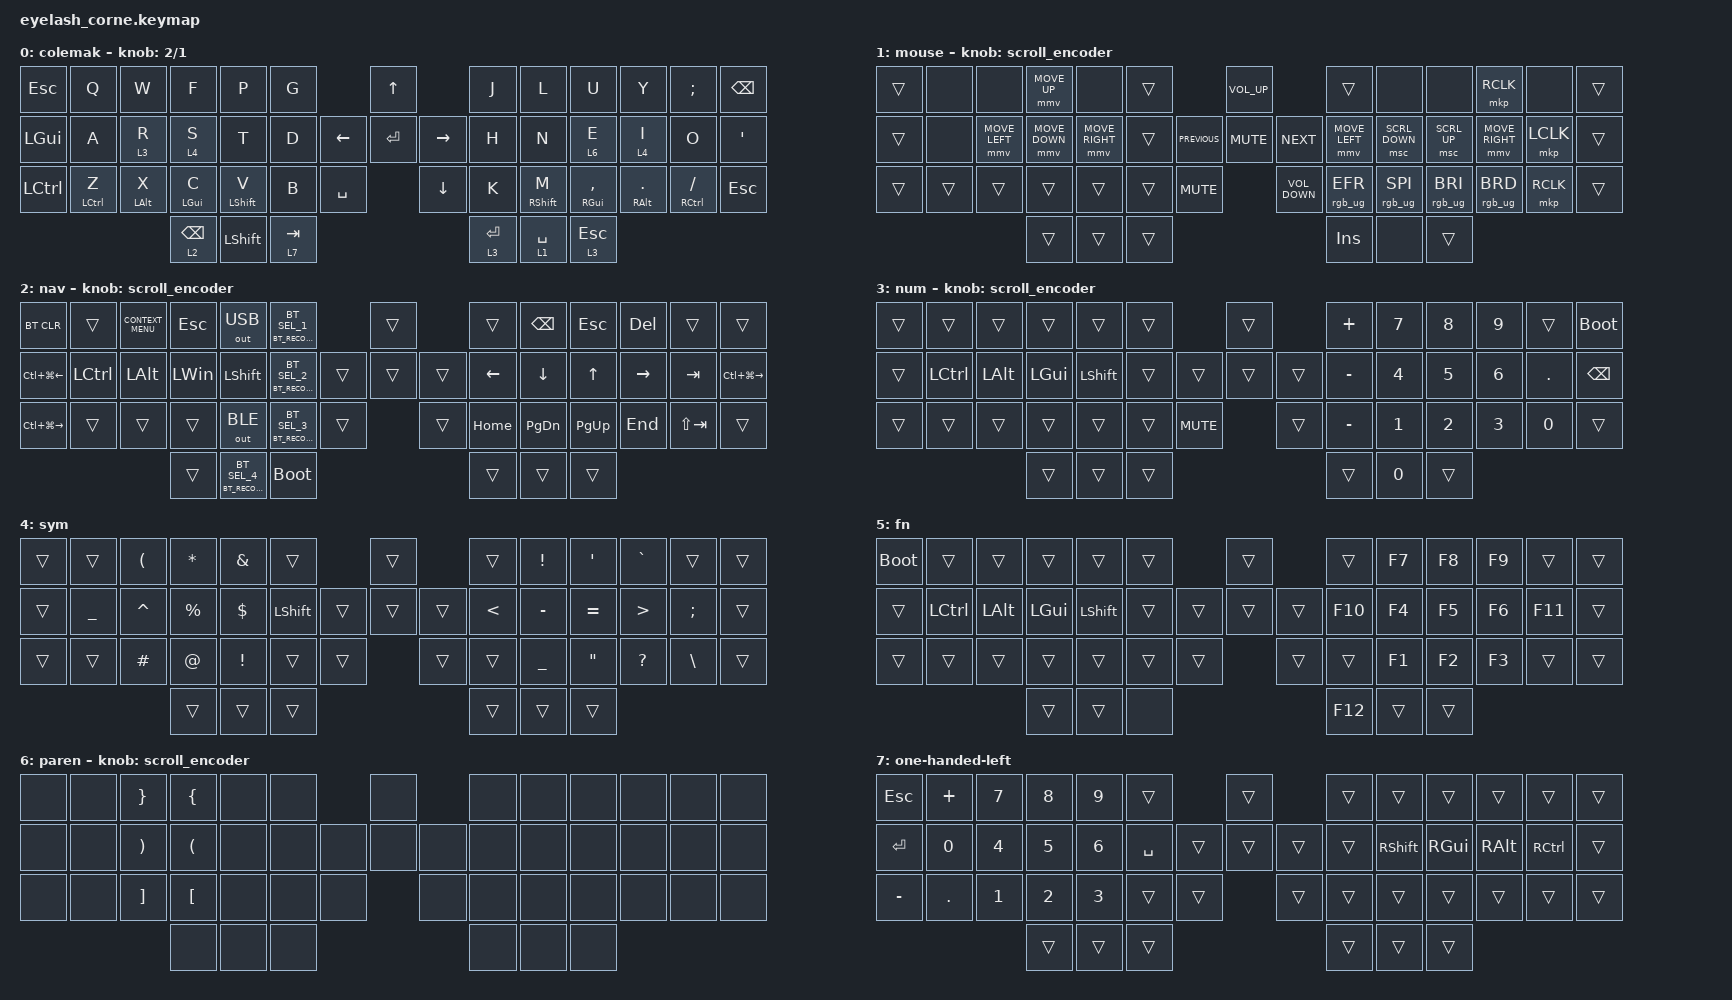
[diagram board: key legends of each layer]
#define ZMK_POINTING_DEFAULT_MOVE_VAL 800  // 600
#define ZMK_POINTING_DEFAULT_SCRL_VAL 40   // 10

#include <input/processors.dtsi>
#include <zephyr/dt-bindings/input/input-event-codes.h>
#include <behaviors.dtsi>
#include <dt-bindings/zmk/bt.h>
#include <dt-bindings/zmk/keys.h>
#include <dt-bindings/zmk/outputs.h>
#include <dt-bindings/zmk/pointing.h>
#include <dt-bindings/zmk/rgb.h>

&mmv_input_listener { input-processors = <&zip_xy_scaler 2 1>; };

&msc_input_listener { input-processors = <&zip_scroll_scaler 2 1>; };

&msc {
    acceleration-exponent = <1>;      // 0
    time-to-max-speed-ms = <100>;       // 300
    delay-ms = <0>;                   // 0
};

&mmv {
    time-to-max-speed-ms = <600>;
    acceleration-exponent = <1>;
};

&mt {
    flavor = "tap-preferred";
    quick-tap-ms = <150>;
};

&caps_word { continue-list = <UNDERSCORE BACKSPACE DELETE MINUS>; };

&lt { quick-tap-ms = <150>; };

/ {
    behaviors {
        bt_1: bt_recon {
            compatible = "zmk,behavior-hold-tap";
            label = "bt_1";
            bindings = <&BT_RECON_1>, <&BT_SEL_1>;

            #binding-cells = <2>;
            tapping-term-ms = <200>;
            quick-tap-ms = <0>;
            flavor = "tap-preferred";
        };

        bt_2: bt_2 {
            compatible = "zmk,behavior-hold-tap";
            label = "BT_2";
            bindings = <&BT_RECON_2>, <&BT_SEL_2>;

            #binding-cells = <2>;
            tapping-term-ms = <200>;
            quick-tap-ms = <0>;
            flavor = "tap-preferred";
        };

        bt_3: bt_3 {
            compatible = "zmk,behavior-hold-tap";
            label = "BT_3";
            bindings = <&BT_RECON_3>, <&BT_SEL_3>;

            #binding-cells = <2>;
            tapping-term-ms = <200>;
            quick-tap-ms = <0>;
            flavor = "tap-preferred";
        };

        bt_4: bt_4 {
            compatible = "zmk,behavior-hold-tap";
            label = "BT_4";
            bindings = <&BT_RECON_4>, <&BT_SEL_4>;

            #binding-cells = <2>;
            tapping-term-ms = <200>;
            quick-tap-ms = <0>;
            flavor = "tap-preferred";
        };
    };

    rgb_encoder: rgb_encoder {
        compatible = "zmk,behavior-sensor-rotate";
        #sensor-binding-cells = <0>;
        bindings = <&rgb_ug RGB_BRI>, <&rgb_ug RGB_BRD>;
    };

    scroll_encoder: scroll_encoder {
        compatible = "zmk,behavior-sensor-rotate";
        #sensor-binding-cells = <0>;
        bindings = <&msc SCRL_DOWN>, <&msc SCRL_UP>;

        tap-ms = <100>;
    };

    combos {
        compatible = "zmk,combos";

        L2-3U {
            bindings = <&kp LEFT_PARENTHESIS>;
            key-positions = <17 3>;
            layers = <0>;
        };

        R2-3U {
            bindings = <&kp RIGHT_PARENTHESIS>;
            key-positions = <23 9>;
            layers = <0>;
        };

        L2-4 {
            bindings = <&kp LEFT_BRACE>;
            key-positions = <17 14>;
            layers = <0>;
        };

        R2-4 {
            bindings = <&kp RIGHT_BRACE>;
            key-positions = <23 26>;
            layers = <0>;
        };

        R2-L2 {
            bindings = <&kp SQT>;
            key-positions = <17 23>;
            layers = <0>;
        };

        R3-L3 {
            bindings = <&kp DOUBLE_QUOTES>;
            key-positions = <16 24>;
            layers = <0>;
        };

        L34 {
            bindings = <&kp Q>;
            key-positions = <14 15>;
            layers = <0>;
        };

        L4D {
            bindings = <&kp Q>;
            key-positions = <14 29>;
            layers = <0>;
        };

        L0LR {
            bindings = <&bootloader>;
            key-positions = <42 43 44>;
            layers = <0>;
        };

        R0LR {
            bindings = <&bootloader>;
            key-positions = <45 46 47>;
            layers = <0>;
        };
    };

    macros {
        BT_RECON_1: BT_RECON_1 {
            compatible = "zmk,behavior-macro";
            #binding-cells = <0>;
            bindings = <&bt BT_SEL 1 &bt BT_CLR>;
            label = "BT_RECON_1";
        };

        BT_RECON_2: BT_RECON_2 {
            compatible = "zmk,behavior-macro";
            #binding-cells = <0>;
            bindings = <&bt BT_SEL 2 &bt BT_CLR>;
            label = "BT_RECON_2";
        };

        BT_RECON_3: BT_RECON_3 {
            compatible = "zmk,behavior-macro";
            #binding-cells = <0>;
            bindings = <&bt BT_SEL 3 &bt BT_CLR>;
            label = "BT_RECON_3";
        };

        BT_RECON_4: BT_RECON_4 {
            compatible = "zmk,behavior-macro";
            #binding-cells = <0>;
            bindings = <&bt BT_SEL 4 &bt BT_CLR>;
            label = "BT_RECON_4";
        };

        BT_SEL_1: BT_SEL_1 {
            compatible = "zmk,behavior-macro";
            #binding-cells = <0>;
            bindings = <&bt BT_SEL 1>;
            label = "BT_SEL_1";
        };

        BT_SEL_2: BT_SEL_2 {
            compatible = "zmk,behavior-macro";
            #binding-cells = <0>;
            bindings = <&bt BT_SEL 2>;
            label = "BT_SEL_2";
        };

        BT_SEL_3: BT_SEL_3 {
            compatible = "zmk,behavior-macro";
            #binding-cells = <0>;
            bindings = <&bt BT_SEL 3>;
            label = "BT_SEL_3";
        };

        BT_SEL_4: BT_SEL_4 {
            compatible = "zmk,behavior-macro";
            #binding-cells = <0>;
            bindings = <&bt BT_SEL 4>;
            label = "BT_SEL_4";
        };
    };

    keymap {
        compatible = "zmk,keymap";

        default_layer {
            display-name = "colemak";
            bindings = <
&kp ESC       &kp Q               &kp W           &kp F            &kp P             &kp G                             &kp UP                &kp J        &kp L              &kp U                &kp Y              &kp SEMI                 &kp BSPC
&kp LEFT_GUI  &kp A               &lt 3 R         &lt 4 S          &kp T             &kp D                   &kp LEFT  &kp ENTER  &kp RIGHT  &kp H        &kp N              &lt 6 E              &lt 4 I            &kp O                    &kp SQT
&kp LCTRL     &mt LEFT_CONTROL Z  &mt LEFT_ALT X  &mt LEFT_GUI C   &mt LEFT_SHIFT V  &kp B      &kp SPACE              &kp DOWN              &kp K        &mt RIGHT_SHIFT M  &mt RIGHT_GUI COMMA  &mt RIGHT_ALT DOT  &mt RIGHT_CONTROL SLASH  &kp ESC
                                                  &lt 2 BACKSPACE  &kp LSHIFT        &lt 7 TAB                                               &lt 3 ENTER  &lt 1 SPACE        &lt 3 ESC
            >;

            // sensor-bindings = <&inc_dec_kp C_VOLUME_UP C_VOLUME_DOWN>;

            sensor-bindings = <&inc_dec_kp N2 N1>;
        };

        mouse {
            display-name = "mouse";
            bindings = <
&trans  &none   &none           &mmv MOVE_UP    &none            &trans                                &kp C_VOLUME_UP                &trans           &none            &none            &mkp RCLK        &none      &trans
&trans  &none   &mmv MOVE_LEFT  &mmv MOVE_DOWN  &mmv MOVE_RIGHT  &trans                &kp C_PREVIOUS  &kp K_MUTE         &kp C_NEXT  &mmv MOVE_LEFT   &msc SCRL_DOWN   &msc SCRL_UP     &mmv MOVE_RIGHT  &mkp LCLK  &trans
&trans  &trans  &trans          &trans          &trans           &trans  &kp C_MUTE                    &kp C_VOLUME_DOWN              &rgb_ug RGB_EFR  &rgb_ug RGB_SPI  &rgb_ug RGB_BRI  &rgb_ug RGB_BRD  &mkp RCLK  &trans
                                &trans          &trans           &trans                                                               &kp INS          &none            &trans
            >;

            sensor-bindings = <&scroll_encoder>;
        };

        nav {
            display-name = "nav";
            bindings = <
&bt BT_CLR         &trans            &kp K_CONTEXT_MENU  &kp ESCAPE    &out OUT_USB    &bt_1 0 0                      &trans          &trans    &kp BSPC   &kp ESC    &kp DEL    &trans       &trans
&kp LC(LG(LEFT))   &kp LEFT_CONTROL  &kp LEFT_ALT        &kp LEFT_WIN  &kp LEFT_SHIFT  &bt_2 0 0              &trans  &trans  &trans  &kp LEFT  &kp DOWN   &kp UP     &kp RIGHT  &kp TAB      &kp LC(LG(RIGHT))
&kp LC(LG(RIGHT))  &trans            &trans              &trans        &out OUT_BLE    &bt_3 0 0    &trans            &trans          &kp HOME  &kp PG_DN  &kp PG_UP  &kp END    &kp LS(TAB)  &trans
                                                         &trans        &bt_4 0 0       &bootloader                                    &trans    &trans     &trans
            >;

            sensor-bindings = <&scroll_encoder>;
        };

        num {
            display-name = "num";
            bindings = <
&trans  &trans            &trans        &trans        &trans          &trans                        &trans          &kp PLUS   &kp N7        &kp N8  &kp N9  &trans   &bootloader
&trans  &kp LEFT_CONTROL  &kp LEFT_ALT  &kp LEFT_GUI  &kp LEFT_SHIFT  &trans                &trans  &trans  &trans  &kp MINUS  &kp N4        &kp N5  &kp N6  &kp DOT  &kp BACKSPACE
&trans  &trans            &trans        &trans        &trans          &trans  &kp C_MUTE            &trans          &kp MINUS  &kp N1        &kp N2  &kp N3  &kp N0   &trans
                                        &trans        &trans          &trans                                        &trans     &kp NUMBER_0  &trans
            >;

            sensor-bindings = <&scroll_encoder>;
        };

        sym {
            bindings = <
&trans  &trans          &kp LEFT_PARENTHESIS  &kp STAR     &kp AMPERSAND    &trans                            &trans          &trans         &kp EXCLAMATION  &kp SQT            &kp GRAVE         &trans    &trans
&trans  &kp UNDERSCORE  &kp CARET             &kp PERCENT  &kp DOLLAR       &kp LEFT_SHIFT            &trans  &trans  &trans  &kp LESS_THAN  &kp MINUS        &kp EQUAL          &kp GREATER_THAN  &kp SEMI  &trans
&trans  &trans          &kp HASH              &kp AT_SIGN  &kp EXCLAMATION  &trans          &trans            &trans          &trans         &kp UNDERSCORE   &kp DOUBLE_QUOTES  &kp QUESTION      &kp BSLH  &trans
                                              &trans       &trans           &trans                                            &trans         &trans           &trans
            >;
        };

        fn {
            bindings = <
&bootloader  &trans     &trans    &trans    &trans     &trans                    &trans          &trans   &kp F7  &kp F8  &kp F9  &trans   &trans
&trans       &kp LCTRL  &kp LALT  &kp LGUI  &kp LSHFT  &trans            &trans  &trans  &trans  &kp F10  &kp F4  &kp F5  &kp F6  &kp F11  &trans
&trans       &trans     &trans    &trans    &trans     &trans  &trans            &trans          &trans   &kp F1  &kp F2  &kp F3  &trans   &trans
                                  &trans    &trans     &none                                     &kp F12  &trans  &trans
            >;
        };

        paren {
            display-name = "paren";
            bindings = <
&none  &none  &kp RIGHT_BRACE        &kp LEFT_BRACE        &none  &none                  &none         &none  &none  &none  &none  &none  &none
&none  &none  &kp RIGHT_PARENTHESIS  &kp LEFT_PARENTHESIS  &none  &none           &none  &none  &none  &none  &none  &none  &none  &none  &none
&none  &none  &kp RIGHT_BRACKET      &kp LEFT_BRACKET      &none  &none  &none           &none         &none  &none  &none  &none  &none  &none
                                     &none                 &none  &none                                &none  &none  &none
            >;

            sensor-bindings = <&scroll_encoder>;
        };

        one-handed-left {
            bindings = <
&kp ESC    &kp PLUS    &kp N7  &kp N8  &kp N9  &trans                       &trans          &trans  &trans     &trans    &trans    &trans     &trans
&kp ENTER  &kp N0      &kp N4  &kp N5  &kp N6  &kp SPACE            &trans  &trans  &trans  &trans  &kp RSHFT  &kp RGUI  &kp RALT  &kp RCTRL  &trans
&kp MINUS  &kp PERIOD  &kp N1  &kp N2  &kp N3  &trans     &trans            &trans          &trans  &trans     &trans    &trans    &trans     &trans
                               &trans  &trans  &trans                                       &trans  &trans     &trans
            >;
        };
    };
};
